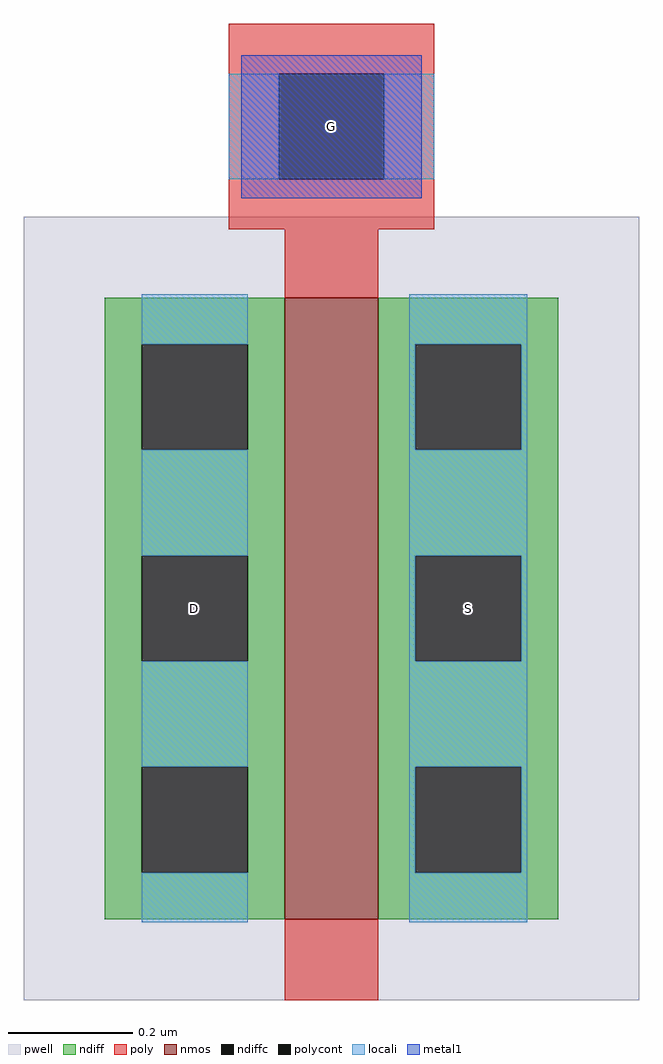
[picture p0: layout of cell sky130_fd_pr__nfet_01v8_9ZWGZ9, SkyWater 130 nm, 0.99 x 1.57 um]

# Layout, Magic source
magic
tech sky130A
magscale 1 2
<< pwell >>
rect -99 -157 99 95
<< nmos >>
rect -15 -131 15 69
<< ndiff >>
rect -73 54 -15 69
rect -73 20 -61 54
rect -27 20 -15 54
rect -73 -14 -15 20
rect -73 -48 -61 -14
rect -27 -48 -15 -14
rect -73 -82 -15 -48
rect -73 -116 -61 -82
rect -27 -116 -15 -82
rect -73 -131 -15 -116
rect 15 54 73 69
rect 15 20 27 54
rect 61 20 73 54
rect 15 -14 73 20
rect 15 -48 27 -14
rect 61 -48 73 -14
rect 15 -82 73 -48
rect 15 -116 27 -82
rect 61 -116 73 -82
rect 15 -131 73 -116
<< ndiffc >>
rect -61 20 -27 54
rect -61 -48 -27 -14
rect -61 -116 -27 -82
rect 27 20 61 54
rect 27 -48 61 -14
rect 27 -116 61 -82
<< poly >>
rect -33 141 33 157
rect -33 107 -17 141
rect 17 107 33 141
rect -33 91 33 107
rect -15 69 15 91
rect -15 -157 15 -131
<< polycont >>
rect -17 107 17 141
<< locali >>
rect -33 107 -17 141
rect 17 107 33 141
rect -61 54 -27 70
rect -61 -14 -27 20
rect -61 -82 -27 -48
rect -61 -132 -27 -116
rect 25 54 63 70
rect 25 20 27 54
rect 61 20 63 54
rect 25 -14 63 20
rect 25 -48 27 -14
rect 61 -48 63 -14
rect 25 -82 63 -48
rect 25 -116 27 -82
rect 61 -116 63 -82
rect 25 -132 63 -116
<< metal1 >>
rect -29 101 29 147
<< labels >>
rlabel locali s 0 124 0 124 4 G
rlabel locali s 44 -31 44 -31 4 S
rlabel locali s -44 -31 -44 -31 4 D
<< end >>
